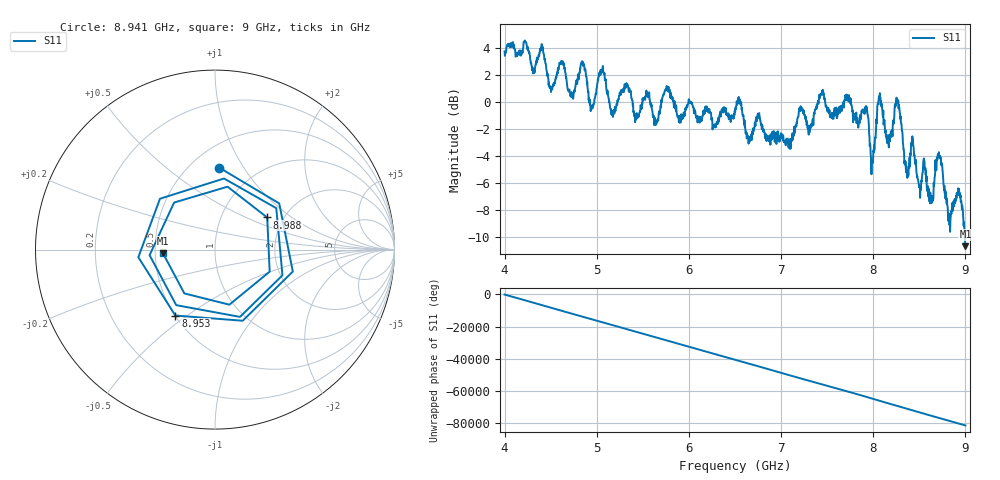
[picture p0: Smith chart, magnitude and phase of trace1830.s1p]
! Created with skrf 1.8.0 (http://scikit-rf.org).
# Hz S RI R 50.0
!freq ReS11 ImS11
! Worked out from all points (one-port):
!   1601 points, 4 GHz to 9 GHz, reference 50 ohm
!   lowest |S11| = -10.7 dB at 9 GHz (marker M1), VSWR 1.82, Z = 27.5 - j1.11 ohm
!   |S11| at or under -10 dB: 8.994139 GHz to end of sweep
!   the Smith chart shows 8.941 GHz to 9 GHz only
!   S11 on the Smith chart (normalised r, x): 8.941 GHz: 0.68, +0.79; 8.953 GHz: 0.50, -0.45; 8.988 GHz: 1.65, +0.67; 9 GHz: 0.55, -0.02
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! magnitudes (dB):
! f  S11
! 4 GHz  3.7
! 4.403 GHz  4.3
! 4.503 GHz  0.7
! 4.625 GHz  3.0
! 4.722 GHz  0.5
! 4.844 GHz  2.8
! 4.944 GHz  -0.5
! 5.053 GHz  2.2
! 5.169 GHz  -1.0
! 5.25 GHz  0.7
! 5.875 GHz  -1.1
! 6.5 GHz  -0.8
! 7.125 GHz  -2.3
! 7.75 GHz  -0.1
! 7.925 GHz  -0.4
! 7.988 GHz  -4.5
! 8.069 GHz  0.2
! 8.162 GHz  -2.5
! 8.259 GHz  0.1
! 8.375 GHz  -5.1
! 8.428 GHz  -3.0
! 8.628 GHz  -7.2
! 8.716 GHz  -4.0
! 8.828 GHz  -9.1
! 8.941 GHz  -6.8
! 8.953 GHz  -7.4
! 8.988 GHz  -9.3
! 9 GHz  -10.7
